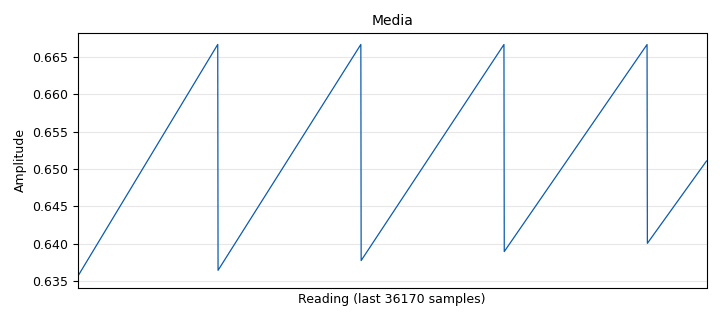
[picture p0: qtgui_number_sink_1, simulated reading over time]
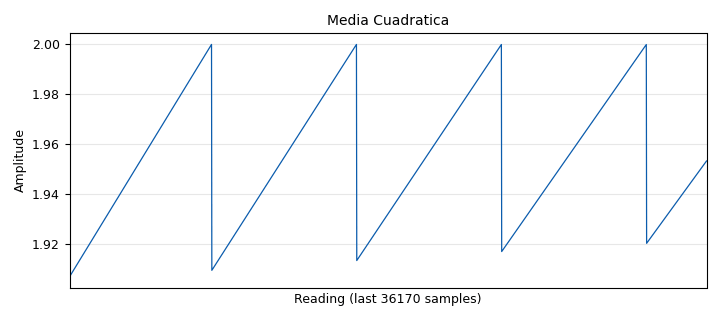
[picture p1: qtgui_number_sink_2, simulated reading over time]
options:
  parameters:
    author: yuri9
    generate_options: qt_gui
    id: Lab_I_P11
    output_language: python
    title: Punto_11
  states: {}

blocks:
- name: samp_rate
  id: variable
  parameters:
    value: '32000'
  states: {}
- name: blocks_vector_source_x_0
  id: blocks_vector_source_x
  parameters:
    repeat: 'True'
    type: float
    vector: (1, 2, -1)
  states: {}
- name: epy_block_1
  id: epy_block
  parameters:
    _source_code: |
      import numpy as np
      from gnuradio import gr

      class blk(gr.sync_block):
          
          def __init__(self):
              # Solo argumentos por defecto aquí
              gr.sync_block.__init__(
                  self,
                  name='Promedios_de_tiempos',  # Nombre que aparecerá en GRC
                  in_sig=[np.float32],
                  out_sig=[np.float32, np.float32, np.float32, np.float32, np.float32]
              )
              
              self.acum_anterior = 0
              self.Ntotales = 0
              self.acum_anterior1 = 0
              self.acum_anterior2 = 0

          def work(self, input_items, output_items):
              x = input_items[0]  # Señal de entrada
              y0 = output_items[0]  # Promedio de la señal
              y1 = output_items[1]  # Media de la señal
              y2 = output_items[2]  # RMS de la señal
              y3 = output_items[3]  # Potencia promedio de la señal
              y4 = output_items[4]  # Desviación estándar de la señal

              # Cálculo del promedio
              N = len(x)
              self.Ntotales += N
              acumulado = self.acum_anterior + np.cumsum(x)
              self.acum_anterior = acumulado[-1]
              y0[:] = acumulado / self.Ntotales

              # Cálculo de la media cuadrática
              x2 = np.multiply(x, x)
              acumulado1 = self.acum_anterior1 + np.cumsum(x2)
              self.acum_anterior1 = acumulado1[-1]
              y1[:] = acumulado1 / self.Ntotales

              # Cálculo del RMS
              y2[:] = np.sqrt(y1)

              # Cálculo de la potencia promedio
              y3[:] = np.multiply(y2, y2)

              # Cálculo de la desviación estándar
              x3 = np.multiply(x - y0, x - y0)
              acumulado2 = self.acum_anterior2 + np.cumsum(x3)
              self.acum_anterior2 = acumulado2[-1]
              y4[:] = np.sqrt(acumulado2 / self.Ntotales)

              return len(x)
  states: {}
- name: qtgui_number_sink_1
  id: qtgui_number_sink
  parameters:
    graph_type: qtgui.NUM_GRAPH_HORIZ
    name: '"Media"'
    type: float
  states: {}
- name: qtgui_number_sink_2
  id: qtgui_number_sink
  parameters:
    graph_type: qtgui.NUM_GRAPH_HORIZ
    name: '"Media Cuadratica"'
    type: float
  states: {}
- name: qtgui_number_sink_3
  id: qtgui_number_sink
  parameters:
    graph_type: qtgui.NUM_GRAPH_HORIZ
    name: '"RMS"'
    type: float
  states: {}
- name: qtgui_number_sink_4
  id: qtgui_number_sink
  parameters:
    graph_type: qtgui.NUM_GRAPH_HORIZ
    name: '"Potencia promedio"'
    type: float
  states: {}
- name: qtgui_number_sink_5
  id: qtgui_number_sink
  parameters:
    graph_type: qtgui.NUM_GRAPH_HORIZ
    name: '"Desviacion Estandar"'
    type: float
  states: {}

connections:
- [blocks_vector_source_x_0, '0', epy_block_1, '0']
- [epy_block_1, '0', qtgui_number_sink_1, '0']
- [epy_block_1, '1', qtgui_number_sink_2, '0']
- [epy_block_1, '2', qtgui_number_sink_3, '0']
- [epy_block_1, '3', qtgui_number_sink_4, '0']
- [epy_block_1, '4', qtgui_number_sink_5, '0']

metadata:
  file_format: 1
  grc_version: 3.10.9.2
